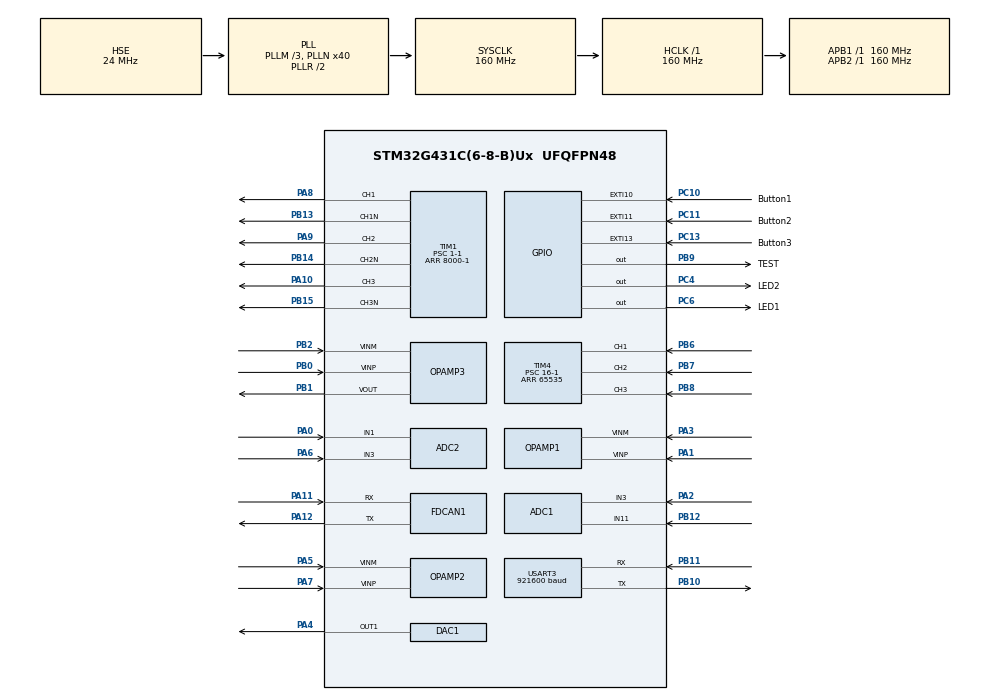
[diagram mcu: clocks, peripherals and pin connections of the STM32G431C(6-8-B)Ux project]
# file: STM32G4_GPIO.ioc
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ADC1.Channel-0\#ChannelRegularConversion=ADC_CHANNEL_11
ADC1.ClockPrescaler=ADC_CLOCK_ASYNC_DIV4
ADC1.EnableInjectedConversion=ENABLE
ADC1.ExternalTrigInjecConv=ADC_EXTERNALTRIGINJEC_T1_CC4
ADC1.InjNumberOfConversion=2
ADC1.InjectedChannel-1\#ChannelInjectedConversion=ADC_CHANNEL_3
ADC1.InjectedChannel-2\#ChannelInjectedConversion=ADC_CHANNEL_12
ADC1.InjectedOffsetNumber-1\#ChannelInjectedConversion=ADC_OFFSET_NONE
ADC1.InjectedOffsetNumber-2\#ChannelInjectedConversion=ADC_OFFSET_NONE
ADC1.InjectedRank-1\#ChannelInjectedConversion=1
ADC1.InjectedRank-2\#ChannelInjectedConversion=2
ADC1.InjectedSamplingTime-1\#ChannelInjectedConversion=ADC_SAMPLETIME_6CYCLES_5
ADC1.InjectedSamplingTime-2\#ChannelInjectedConversion=ADC_SAMPLETIME_6CYCLES_5
ADC1.NbrOfConversionFlag=1
ADC1.OffsetNumber-0\#ChannelRegularConversion=ADC_OFFSET_NONE
ADC1.Rank-0\#ChannelRegularConversion=1
ADC1.SamplingTime-0\#ChannelRegularConversion=ADC_SAMPLETIME_2CYCLES_5
ADC1.master=1
ADC2.Channel-2\#ChannelRegularConversion=ADC_CHANNEL_1
ADC2.ClockPrescaler=ADC_CLOCK_ASYNC_DIV4
ADC2.EnableInjectedConversion=ENABLE
ADC2.EnableRegularConversion=ENABLE
ADC2.ExternalTrigInjecConv=ADC_EXTERNALTRIGINJEC_T1_CC4
ADC2.InjNumberOfConversion=1
ADC2.InjectedChannel-1\#ChannelInjectedConversion=ADC_CHANNEL_3
ADC2.InjectedOffsetNumber-1\#ChannelInjectedConversion=ADC_OFFSET_NONE
ADC2.InjectedRank-1\#ChannelInjectedConversion=1
ADC2.InjectedSamplingTime-1\#ChannelInjectedConversion=ADC_SAMPLETIME_6CYCLES_5
ADC2.NbrOfConversionFlag=1
ADC2.OffsetNumber-2\#ChannelRegularConversion=ADC_OFFSET_NONE
ADC2.Rank-2\#ChannelRegularConversion=1
ADC2.SamplingTime-2\#ChannelRegularConversion=ADC_SAMPLETIME_2CYCLES_5
COMP1.TriggerMode=COMP_TRIGGERMODE_IT_RISING
Dma.Request0=USART3_TX
Dma.USART3_TX.0.Direction=DMA_MEMORY_TO_PERIPH
Dma.USART3_TX.0.EventEnable=DISABLE
Dma.USART3_TX.0.Instance=DMA1_Channel1
Dma.USART3_TX.0.MemDataAlignment=DMA_MDATAALIGN_BYTE
Dma.USART3_TX.0.MemInc=DMA_MINC_ENABLE
Dma.USART3_TX.0.Mode=DMA_NORMAL
Dma.USART3_TX.0.PeriphDataAlignment=DMA_PDATAALIGN_BYTE
Dma.USART3_TX.0.PeriphInc=DMA_PINC_DISABLE
Dma.USART3_TX.0.Polarity=HAL_DMAMUX_REQ_GEN_RISING
Dma.USART3_TX.0.Priority=DMA_PRIORITY_LOW
Dma.USART3_TX.0.RequestNumber=1
Dma.USART3_TX.0.SignalID=NONE
Dma.USART3_TX.0.SyncEnable=DISABLE
Dma.USART3_TX.0.SyncPolarity=HAL_DMAMUX_SYNC_NO_EVENT
Dma.USART3_TX.0.SyncRequestNumber=1
Dma.USART3_TX.0.SyncSignalID=NONE
FDCAN1.DataPrescaler=20
FDCAN1.DataTimeSeg1=10
FDCAN1.DataTimeSeg2=5
FDCAN1.ExtFiltersNbr=1
FDCAN1.NominalPrescaler=20
FDCAN1.NominalTimeSeg1=10
FDCAN1.NominalTimeSeg2=5
FDCAN1.StdFiltersNbr=1
Mcu.Family=STM32G4
Mcu.Name=STM32G431C(6-8-B)Ux
Mcu.Package=UFQFPN48
NVIC.ADC1_2_IRQn=true\:0\:0\:false\:false\:true\:true\:true\:true
NVIC.COMP1_2_3_IRQn=true\:0\:0\:false\:false\:true\:false\:true\:true
NVIC.DMA1_Channel1_IRQn=true\:0\:0\:false\:false\:true\:false\:true\:true
NVIC.EXTI15_10_IRQn=true\:0\:0\:false\:false\:true\:true\:true\:true
NVIC.FDCAN1_IT0_IRQn=true\:0\:0\:false\:false\:true\:true\:true\:true
NVIC.PriorityGroup=NVIC_PRIORITYGROUP_4
NVIC.TIM1_BRK_TIM15_IRQn=true\:0\:0\:false\:false\:true\:true\:true\:true
NVIC.TIM1_CC_IRQn=true\:0\:0\:false\:false\:true\:true\:true\:true
NVIC.TIM1_UP_TIM16_IRQn=true\:0\:0\:false\:false\:true\:true\:true\:true
NVIC.TIM4_IRQn=true\:0\:0\:false\:false\:true\:true\:true\:true
NVIC.USART3_IRQn=true\:0\:0\:false\:false\:true\:true\:true\:true
PA0.Mode=IN1-Single-Ended
PA0.Signal=ADC2_IN1
PA1.Mode=Standalone
PA1.Signal=OPAMP1_VINP
PA10.Signal=S_TIM1_CH3
PA11.Mode=FDCAN_Activate
PA11.Signal=FDCAN1_RX
PA12.Mode=FDCAN_Activate
PA12.Signal=FDCAN1_TX
PA13.Mode=Serial_Wire
PA13.Signal=SYS_JTMS-SWDIO
PA14.Mode=Serial_Wire
PA14.Signal=SYS_JTCK-SWCLK
PA2.Signal=SharedAnalog_PA2
PA3.Mode=Standalone
PA3.Signal=OPAMP1_VINM
PA4.Signal=COMP_DAC11_group
PA5.Mode=Standalone
PA5.Signal=OPAMP2_VINM
PA6.Signal=SharedAnalog_PA6
PA7.Mode=Standalone
PA7.Signal=OPAMP2_VINP
PA8.Signal=S_TIM1_CH1
PA9.Signal=S_TIM1_CH2
PB0.Mode=Standalone
PB0.Signal=OPAMP3_VINP
PB1.Signal=SharedAnalog_PB1
PB10.Mode=Asynchronous
PB10.Signal=USART3_TX
PB11.Mode=Asynchronous
PB11.Signal=USART3_RX
PB12.Mode=IN11-Single-Ended
PB12.Signal=ADC1_IN11
PB13.Mode=PWM Generation1 CH1 CH1N
PB13.Signal=TIM1_CH1N
PB14.Mode=PWM Generation2 CH2 CH2N
PB14.Signal=TIM1_CH2N
PB15.Mode=PWM Generation3 CH3 CH3N
PB15.Signal=TIM1_CH3N
PB2.Mode=Standalone
PB2.Signal=OPAMP3_VINM
PB6.Signal=S_TIM4_CH1
PB7.Signal=S_TIM4_CH2
PB8-BOOT0.Signal=S_TIM4_CH3
PB9.GPIO_FM9=__NULL
PB9.GPIO_Label=TEST
PB9.GPIO_Speed=GPIO_SPEED_FREQ_VERY_HIGH
PB9.Signal=GPIO_Output
PC10.GPIO_Label=Button1
PC10.Signal=GPXTI10
PC11.GPIO_Label=Button2
PC11.Signal=GPXTI11
PC13.GPIO_Label=Button3
PC13.Signal=GPXTI13
PC4.GPIO_Label=LED2
PC4.Signal=GPIO_Output
PC6.GPIO_Label=LED1
PC6.Signal=GPIO_Output
PF0-OSC_IN.Mode=HSE-External-Oscillator
PF0-OSC_IN.Signal=RCC_OSC_IN
PF1-OSC_OUT.Mode=HSE-External-Oscillator
PF1-OSC_OUT.Signal=RCC_OSC_OUT
ProjectManager.HeapSize=0x200
ProjectManager.StackSize=0x400
ProjectManager.TargetToolchain=MDK-ARM V5.32
RCC.ADC12Freq_Value=160000000
RCC.AHBFreq_Value=160000000
RCC.APB1Freq_Value=160000000
RCC.APB1TimFreq_Value=160000000
RCC.APB2Freq_Value=160000000
RCC.APB2TimFreq_Value=160000000
RCC.CortexFreq_Value=160000000
RCC.EXTERNAL_CLOCK_VALUE=12288000
RCC.HCLKFreq_Value=160000000
RCC.HSE_VALUE=24000000
RCC.HSI48_VALUE=48000000
RCC.HSI_VALUE=16000000
RCC.LSE_VALUE=32768
RCC.PLLM=RCC_PLLM_DIV3
RCC.PLLN=40
RCC.PLLSourceVirtual=RCC_PLLSOURCE_HSE
RCC.SYSCLKFreq_VALUE=160000000
RCC.SYSCLKSource=RCC_SYSCLKSOURCE_PLLCLK
RCC.USBFreq_Value=160000000
RCC.VCOOutputFreq_Value=320000000
SH.COMP_DAC11_group.0=DAC1_OUT1,DAC_OUT1
SH.S_TIM1_CH1.0=TIM1_CH1,PWM Generation1 CH1 CH1N
SH.S_TIM1_CH2.0=TIM1_CH2,PWM Generation2 CH2 CH2N
SH.S_TIM1_CH3.0=TIM1_CH3,PWM Generation3 CH3 CH3N
SH.S_TIM4_CH1.0=TIM4_CH1,Xored_Inputs_Hall_Sensor_Interface
SH.S_TIM4_CH2.0=TIM4_CH2,Xored_Inputs_Hall_Sensor_Interface
SH.S_TIM4_CH3.0=TIM4_CH3,Xored_Inputs_Hall_Sensor_Interface
SH.SharedAnalog_PA2.0=ADC1_IN3,IN3-Single-Ended
SH.SharedAnalog_PA2.1=OPAMP1_VOUT,Standalone
SH.SharedAnalog_PA6.0=ADC2_IN3,IN3-Single-Ended
SH.SharedAnalog_PA6.1=OPAMP2_VOUT,Standalone
SH.SharedAnalog_PB1.0=OPAMP3_VOUT,Standalone
SH.SharedAnalog_PB1.1=ADC1_IN12,IN12-Single-Ended
SH.SharedAnalog_PB1.2=COMP1_INP,INP
STMicroelectronics.X-CUBE-ALGOBUILD.1.3.0.LibraryCcDSPOoLibraryJjDSPOoLibrary=true
TIM1.BreakFilter=2
TIM1.BreakState=TIM_BREAK_ENABLE
TIM1.Channel-PWM\ Generation1\ CH1\ CH1N=TIM_CHANNEL_1
TIM1.Channel-PWM\ Generation2\ CH2\ CH2N=TIM_CHANNEL_2
TIM1.Channel-PWM\ Generation3\ CH3\ CH3N=TIM_CHANNEL_3
TIM1.Channel-PWM\ Generation4\ No\ Output=TIM_CHANNEL_4
TIM1.ClockDivision=TIM_CLOCKDIVISION_DIV2
TIM1.CounterMode=TIM_COUNTERMODE_CENTERALIGNED1
TIM1.DeadTime=120
TIM1.OCMode_PWM-PWM\ Generation4\ No\ Output=TIM_OCMODE_PWM2
TIM1.PeriodNoDither=8000-1
TIM1.Prescaler=1-1
TIM1.PulseNoDither_4=8000-2
TIM1.RepetitionCounter=1
TIM1.SourceBRKCOMP1=TIM_BREAKINPUTSOURCE_ENABLE
TIM1.TIM_MasterOutputTrigger=TIM_TRGO_OC4REF
TIM4.Commutation_Delay=5
TIM4.IC1Filter=10
TIM4.PeriodNoDither=65535
TIM4.Prescaler=16-1
USART3.BaudRate=921600
USART3.VirtualMode-Asynchronous=VM_ASYNC
VP_COMP1_VS_DAC3OUT1.Mode=INM_DAC3OUT1
VP_DAC3_VS_DACI1.Mode=DAC_OUT1_Int
VP_STMicroelectronics.X-CUBE-ALGOBUILD_VS_DSPOoLibraryJjLibrary_1.3.0_1.3.0.Mode=DSPOoLibraryJjLibrary
VP_SYS_VS_DBSignals.Mode=DisableDeadBatterySignals
VP_TIM1_VS_ClockSourceINT.Mode=Internal
VP_TIM1_VS_no_output4.Mode=PWM Generation4 No Output
VP_TIM4_VS_ClockSourceINT.Mode=Internal
board=custom

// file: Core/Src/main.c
/* USER CODE BEGIN Header */
/**
 ******************************************************************************
 * @file           : main.c
 * @brief          : Main program body
 ******************************************************************************
 * @attention
 *
 * <h2><center>&copy; Copyright (c) 2023 STMicroelectronics.
 * All rights reserved.</center></h2>
 *
 * This software component is licensed by ST under BSD 3-Clause license,
 * the "License"; You may not use this file except in compliance with the
 * License. You may obtain a copy of the License at:
 *                        opensource.org/licenses/BSD-3-Clause
 *
 ******************************************************************************
 */
/* USER CODE END Header */
#include "main.h"
#include "adc.h"
#include "comp.h"
#include "dac.h"
#include "dma.h"
#include "fdcan.h"
#include "opamp.h"
#include "tim.h"
#include "usart.h"
#include "gpio.h"

/* USER CODE BEGIN Includes */
#include <stdio.h>
#include <string.h>
#include "currloop.h"
/* USER CODE END Includes */

/* USER CODE BEGIN PV */
#define PI 3.14159265358979f
#define PHASE_SHIFT_ANGLE (float)(120.0f / 360.0f * 2.0f * PI)

extern DMA_HandleTypeDef hdma_usart3_tx;
uint8_t DataB1[32] = "LED1 Toggle\r\n";
uint8_t DataB2[32] = "LED2 Toggle\r\n";
uint8_t DataB3[32] = "LED1 and LED2 Open\r\n";

#define RXBUFFERSIZE 256
char RxBuffer[RXBUFFERSIZE];
uint8_t aRxBuffer;
uint8_t Uart1_Rx_Cnt = 0;

float load_data[5];
static uint8_t tempData[24] = {0, 0, 0, 0, 0, 0, 0, 0, 0, 0, 0, 0, 0, 0, 0, 0, 0, 0, 0, 0, 0, 0, 0x80, 0x7F};

uint16_t DAC_temp = 0;

float Vbus, Ia, Ib, Ic;
uint8_t Motor_state = 0;
uint16_t IA_Offset, IB_Offset, IC_Offset;
uint16_t adc1_in1, adc1_in2, adc1_in3, Vpoten, adc_vbus;
uint8_t ADC_offset = 0;

FDCAN_RxHeaderTypeDef RxHeader;
FDCAN_TxHeaderTypeDef TxHeader;
uint8_t RxData[8] = {NULL};
uint8_t TxData[8] = {NULL};

float HallTemp = 0;
float HallThetaAdd = 0;
float HallTheta = 0;
float HallSpeed = 0;
uint8_t HallReadTemp = 0;
/* USER CODE END PV */

void SystemClock_Config(void);
/* USER CODE BEGIN PFP */
void FDCAN_Config(void);
/* USER CODE END PFP */

int main(void)
{

  /* MCU Configuration--------------------------------------------------------*/

  /* Reset of all peripherals, Initializes the Flash interface and the Systick. */
  HAL_Init();

  /* Configure the system clock */
  SystemClock_Config();

  /* Initialize all configured peripherals */
  MX_GPIO_Init();
  MX_DMA_Init();
  MX_USART3_UART_Init();
  MX_ADC1_Init();
  MX_ADC2_Init();
  MX_OPAMP1_Init();
  MX_OPAMP2_Init();
  MX_OPAMP3_Init();
  MX_TIM1_Init();
  MX_COMP1_Init();
  MX_DAC1_Init();
  MX_DAC3_Init();
  MX_FDCAN1_Init();
  MX_TIM4_Init();
  /* USER CODE BEGIN 2 */
  HAL_OPAMP_Start(&hopamp1);
  HAL_OPAMP_Start(&hopamp2);
  HAL_OPAMP_Start(&hopamp3);
  HAL_UART_Receive_IT(&huart3, (uint8_t *)&aRxBuffer, 1);
  HAL_ADCEx_Calibration_Start(&hadc1, ADC_SINGLE_ENDED);
  HAL_ADCEx_Calibration_Start(&hadc2, ADC_SINGLE_ENDED);
  __HAL_ADC_CLEAR_FLAG(&hadc1, ADC_FLAG_JEOC);
  __HAL_ADC_CLEAR_FLAG(&hadc1, ADC_FLAG_EOC);
  __HAL_ADC_CLEAR_FLAG(&hadc2, ADC_FLAG_JEOC);
  HAL_ADCEx_InjectedStart_IT(&hadc1);
  HAL_ADCEx_InjectedStart(&hadc2);
  TIM1->ARR = 8000 - 1;
  TIM1->CCR4 = 8000 - 2;
  HAL_TIM_Base_Start(&htim1);
  HAL_TIM_PWM_Start(&htim1, TIM_CHANNEL_4);
  HAL_DAC_SetValue(&hdac3, DAC_CHANNEL_1, DAC_ALIGN_12B_R, 3000);
  HAL_DAC_Start(&hdac3, DAC_CHANNEL_1);
  HAL_DAC_Start(&hdac1, DAC_CHANNEL_1);
  HAL_COMP_Start(&hcomp1);
  HAL_TIMEx_HallSensor_Start_IT(&htim4);
  FDCAN_Config();

  /* USER CODE END 2 */

  /* Infinite loop */
  /* USER CODE BEGIN WHILE */

  while (1)
  {
    // 		HAL_ADC_Start(&hadc1);
    HAL_ADC_Start(&hadc2);
    // 		Vpoten = HAL_ADC_GetValue(&hadc1);
    adc_vbus = HAL_ADC_GetValue(&hadc2);

    rtU.v_bus = adc_vbus * 3.3f / 4096 * 26;
    // //		HAL_DAC_SetValue(&hdac1,DAC_CHANNEL_1,DAC_ALIGN_12B_R,DAC_temp);
    // 		HAL_FDCAN_AddMessageToTxFifoQ(&hfdcan1, &TxHeader, TxData);
    HAL_Delay(10);
    /* USER CODE END WHILE */

  }
}

void SystemClock_Config(void)
{
  RCC_OscInitTypeDef RCC_OscInitStruct = {0};
  RCC_ClkInitTypeDef RCC_ClkInitStruct = {0};
  RCC_PeriphCLKInitTypeDef PeriphClkInit = {0};

  /** Configure the main internal regulator output voltage
   */
  HAL_PWREx_ControlVoltageScaling(PWR_REGULATOR_VOLTAGE_SCALE1_BOOST);
  /** Initializes the RCC Oscillators according to the specified parameters
   * in the RCC_OscInitTypeDef structure.
   */
  RCC_OscInitStruct.OscillatorType = RCC_OSCILLATORTYPE_HSE;
  RCC_OscInitStruct.HSEState = RCC_HSE_ON;
  RCC_OscInitStruct.PLL.PLLState = RCC_PLL_ON;
  RCC_OscInitStruct.PLL.PLLSource = RCC_PLLSOURCE_HSE;
  RCC_OscInitStruct.PLL.PLLM = RCC_PLLM_DIV3;
  RCC_OscInitStruct.PLL.PLLN = 40;
  RCC_OscInitStruct.PLL.PLLP = RCC_PLLP_DIV2;
  RCC_OscInitStruct.PLL.PLLQ = RCC_PLLQ_DIV2;
  RCC_OscInitStruct.PLL.PLLR = RCC_PLLR_DIV2;
  if (HAL_RCC_OscConfig(&RCC_OscInitStruct) != HAL_OK)
  {
    Error_Handler();
  }
  /** Initializes the CPU, AHB and APB buses clocks
   */
  RCC_ClkInitStruct.ClockType = RCC_CLOCKTYPE_HCLK | RCC_CLOCKTYPE_SYSCLK | RCC_CLOCKTYPE_PCLK1 | RCC_CLOCKTYPE_PCLK2;
  RCC_ClkInitStruct.SYSCLKSource = RCC_SYSCLKSOURCE_PLLCLK;
  RCC_ClkInitStruct.AHBCLKDivider = RCC_SYSCLK_DIV1;
  RCC_ClkInitStruct.APB1CLKDivider = RCC_HCLK_DIV1;
  RCC_ClkInitStruct.APB2CLKDivider = RCC_HCLK_DIV1;

  if (HAL_RCC_ClockConfig(&RCC_ClkInitStruct, FLASH_LATENCY_4) != HAL_OK)
  {
    Error_Handler();
  }
  /** Initializes the peripherals clocks
   */
  PeriphClkInit.PeriphClockSelection = RCC_PERIPHCLK_USART3 | RCC_PERIPHCLK_ADC12 | RCC_PERIPHCLK_FDCAN;
  PeriphClkInit.Usart3ClockSelection = RCC_USART3CLKSOURCE_PCLK1;
  PeriphClkInit.FdcanClockSelection = RCC_FDCANCLKSOURCE_PCLK1;
  PeriphClkInit.Adc12ClockSelection = RCC_ADC12CLKSOURCE_SYSCLK;
  if (HAL_RCCEx_PeriphCLKConfig(&PeriphClkInit) != HAL_OK)
  {
    Error_Handler();
  }
}

/* USER CODE BEGIN 4 */

void HAL_GPIO_EXTI_Callback(uint16_t GPIO_Pin)
{
  /* Prevent unused argument(s) compilation warning */
  UNUSED(GPIO_Pin);
  if (Button3_Pin == GPIO_Pin)
  {
    Motor_state = ~Motor_state;
    if (0 == Motor_state)
    {
      rtU.Motor_OnOff = 0;
      HAL_TIM_PWM_Stop(&htim1, TIM_CHANNEL_1);
      HAL_TIM_PWM_Stop(&htim1, TIM_CHANNEL_2);
      HAL_TIM_PWM_Stop(&htim1, TIM_CHANNEL_3);
      HAL_TIMEx_PWMN_Stop(&htim1, TIM_CHANNEL_1);
      HAL_TIMEx_PWMN_Stop(&htim1, TIM_CHANNEL_2);
      HAL_TIMEx_PWMN_Stop(&htim1, TIM_CHANNEL_3);
    }
    else
    {
      rtU.Motor_OnOff = 1;
      HAL_TIM_PWM_Start(&htim1, TIM_CHANNEL_1);
      HAL_TIM_PWM_Start(&htim1, TIM_CHANNEL_2);
      HAL_TIM_PWM_Start(&htim1, TIM_CHANNEL_3);
      HAL_TIMEx_PWMN_Start(&htim1, TIM_CHANNEL_1);
      HAL_TIMEx_PWMN_Start(&htim1, TIM_CHANNEL_2);
      HAL_TIMEx_PWMN_Start(&htim1, TIM_CHANNEL_3);
    }
  }
  /* NOTE: This function should not be modified, when the callback is needed,
           the HAL_GPIO_EXTI_Callback could be implemented in the user file
   */
}

void HAL_UART_RxCpltCallback(UART_HandleTypeDef *huart)
{
  /* Prevent unused argument(s) compilation warning */
  UNUSED(huart);
  if (Uart1_Rx_Cnt >= 255)
  {
    Uart1_Rx_Cnt = 0;
    memset(RxBuffer, 0x00, sizeof(RxBuffer));
    HAL_UART_Transmit(&huart3, (uint8_t *)"????", 10, 0xFFFF);
  }
  else
  {
    RxBuffer[Uart1_Rx_Cnt++] = aRxBuffer;
    //		Uart1_Rx_Cnt = 0;
    //		memset(RxBuffer,0x00,sizeof(RxBuffer));
  }
  HAL_UART_Receive_IT(&huart3, (uint8_t *)&aRxBuffer, 1);
  /* NOTE: This function should not be modified, when the callback is needed,
           the HAL_UART_TxHalfCpltCallback can be implemented in the user file.
   */
}

int fputc(int ch, FILE *f)
{
  while ((USART3->ISR & 0X40) == 0)
    ;
  USART3->TDR = (uint8_t)ch;
  return ch;
}

void HAL_ADCEx_InjectedConvCpltCallback(ADC_HandleTypeDef *hadc)
{
  HAL_GPIO_WritePin(TEST_GPIO_Port, TEST_Pin, GPIO_PIN_SET);
  static uint8_t cnt;
  /* Prevent unused argument(s) compilation warning */
  UNUSED(hadc);
  if (hadc == &hadc1)
  {
#if 0
    ParkTest_step();
    load_data[3] = rtY.ualpha;
    load_data[4] = rtY.ubeta;
    load_data[0] = id;
    load_data[1] = iq;

    memcpy(tempData, (uint8_t *)&load_data, sizeof(load_data));
    HAL_UART_Transmit_DMA(&huart3, (uint8_t *)tempData, 6 * 4);
#else
    if (ADC_offset == 0)
    {
      cnt++;
      adc1_in1 = hadc1.Instance->JDR1;
      adc1_in2 = hadc2.Instance->JDR1;
      adc1_in3 = hadc1.Instance->JDR2;
      IA_Offset += adc1_in1;
      IB_Offset += adc1_in2;
      IC_Offset += adc1_in3;
      if (cnt >= 10)
      {
        ADC_offset = 1;
        IA_Offset = IA_Offset / 10;
        IB_Offset = IB_Offset / 10;
        IC_Offset = IC_Offset / 10;
      }
    }
    else
    {
      adc1_in1 = hadc1.Instance->JDR1;
      adc1_in3 = hadc1.Instance->JDR2;
      adc1_in2 = hadc2.Instance->JDR1;
      rtU.ia = (adc1_in1 - IA_Offset) * 0.02197f;
      rtU.ib = (adc1_in2 - IB_Offset) * 0.02197f;
      rtU.ic = (adc1_in3 - IC_Offset) * 0.02197f;
      currloop_step();
      TIM1->CCR1 = rtY.tABC[0];
      TIM1->CCR2 = rtY.tABC[1];
      TIM1->CCR3 = rtY.tABC[2];
      load_data[0] = rtU.ia;
      load_data[1] = rtU.ib;
      load_data[2] = rtU.ic;
      load_data[3] = ThetaOpen;
      load_data[4] = 0;
      memcpy(tempData, (uint8_t *)&load_data, sizeof(load_data));
      HAL_UART_Transmit_DMA(&huart3, (uint8_t *)tempData, 6 * 4);
    }
#endif
  }
  HAL_GPIO_WritePin(TEST_GPIO_Port, TEST_Pin, GPIO_PIN_RESET);
  /* NOTE : This function should not be modified. When the callback is needed,
            function HAL_ADCEx_InjectedConvCpltCallback must be implemented in the user file.
  */
}

void HAL_TIM_IC_CaptureCallback(TIM_HandleTypeDef *htim)
{
  /* Prevent unused argument(s) compilation warning */
  UNUSED(htim);
  if (htim == &htim4)
  {
    HallTemp = HAL_TIM_ReadCapturedValue(&htim4, TIM_CHANNEL_1);
    ;
    HallThetaAdd = (PI / 3) / (HallTemp / 1000000) / 10000;
    HallSpeed = (PI / 3) / (HallTemp / 1000000) * 30 / PI;
    HallReadTemp = HAL_GPIO_ReadPin(GPIOB, GPIO_PIN_8);
    HallReadTemp |= HAL_GPIO_ReadPin(GPIOB, GPIO_PIN_7) << 1;
    HallReadTemp |= HAL_GPIO_ReadPin(GPIOB, GPIO_PIN_6) << 2;
    if (HallReadTemp == 0x05)
    {
      HallTheta = 0.0f + PHASE_SHIFT_ANGLE;
    }
    else if (HallReadTemp == 0x04)
    {
      HallTheta = (PI / 3.0f) + PHASE_SHIFT_ANGLE;
    }
    else if (HallReadTemp == 0x06)
    {
      HallTheta = (PI * 2.0f / 3.0f) + PHASE_SHIFT_ANGLE;
    }
    else if (HallReadTemp == 0x02)
    {
      HallTheta = PI + PHASE_SHIFT_ANGLE;
    }
    else if (HallReadTemp == 0x03)
    {
      HallTheta = (PI * 4.0f / 3.0f) + PHASE_SHIFT_ANGLE;
    }
    else if (HallReadTemp == 0x01)
    {
      HallTheta = (PI * 5.0f / 3.0f) + PHASE_SHIFT_ANGLE;
    }
    if (HallTheta < 0.0f)
    {
      HallTheta += 2.0f * PI;
    }
    else if (HallTheta > (2.0f * PI))
    {
      HallTheta -= 2.0f * PI;
    }
  }

  /* NOTE : This function should not be modified, when the callback is needed,
            the HAL_TIM_IC_CaptureCallback could be implemented in the user file
   */
}

void FDCAN_Config(void)
{
  FDCAN_FilterTypeDef sFilterConfig;

  HAL_FDCAN_ActivateNotification(&hfdcan1, FDCAN_IT_RX_FIFO0_NEW_MESSAGE, 0);

  sFilterConfig.IdType = FDCAN_EXTENDED_ID;
  sFilterConfig.FilterIndex = 0;
  sFilterConfig.FilterType = FDCAN_FILTER_RANGE;
  sFilterConfig.FilterConfig = FDCAN_FILTER_TO_RXFIFO0;
  sFilterConfig.FilterID1 = 0x00000000;
  sFilterConfig.FilterID2 = 0x01ffffff;
  HAL_FDCAN_ConfigFilter(&hfdcan1, &sFilterConfig);

  TxHeader.Identifier = 0x1B;
  TxHeader.IdType = FDCAN_EXTENDED_ID;
  TxHeader.TxFrameType = FDCAN_DATA_FRAME;
  TxHeader.DataLength = FDCAN_DLC_BYTES_8;
  TxHeader.ErrorStateIndicator = FDCAN_ESI_ACTIVE;
  TxHeader.BitRateSwitch = FDCAN_BRS_OFF;
  TxHeader.FDFormat = FDCAN_CLASSIC_CAN;
  TxHeader.TxEventFifoControl = FDCAN_NO_TX_EVENTS;
  TxHeader.MessageMarker = 0x52;

  HAL_FDCAN_Start(&hfdcan1);
}
/* USER CODE END 4 */

void Error_Handler(void)
{
  __disable_irq();
  while (1)
  {
  }
}

/************************ (C) COPYRIGHT STMicroelectronics *****END OF FILE****/
